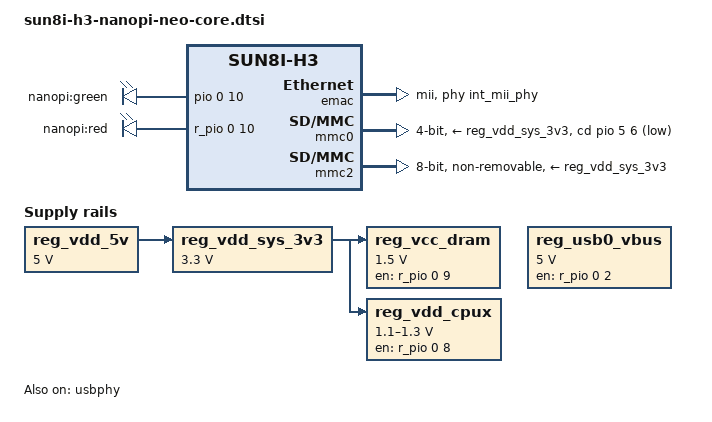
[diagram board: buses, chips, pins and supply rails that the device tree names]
// SPDX-License-Identifier: GPL-2.0 OR X11
/*
 * Copyright (C) 2018 Mans Rullgard <mans@mansr.com>
 */

/dts-v1/;
#include "sun8i-h3.dtsi"

#include <dt-bindings/gpio/gpio.h>

/ {
	aliases {
		mmc0 = &mmc0;
		mmc1 = &mmc2;
	};

	leds {
		compatible = "gpio-leds";

		led-green {
			label = "nanopi:green";
			gpios = <&pio 0 10 GPIO_ACTIVE_HIGH>; /* PA10 */
			linux,default-trigger = "heartbeat";
		};

		led-red {
			label = "nanopi:red";
			gpios = <&r_pio 0 10 GPIO_ACTIVE_HIGH>; /* PL10 */
			default-state = "on";
		};
	};

	reg_vdd_5v: regulator-vdd-5v {
		compatible = "regulator-fixed";
		regulator-name = "vdd-5v";
		regulator-min-microvolt = <5000000>;
		regulator-max-microvolt = <5000000>;
	};

	reg_vdd_sys_3v3: regulator-vdd-sys-3v3 {
		compatible = "regulator-fixed";
		regulator-name = "vdd-sys-3v3";
		regulator-min-microvolt = <3300000>;
		regulator-max-microvolt = <3300000>;
		vin-supply = <&reg_vdd_5v>;
	};

	reg_vcc_dram: regulator-vcc-dram {
		compatible = "regulator-fixed";
		regulator-name = "vdd-vcc-dram";
		regulator-min-microvolt = <1500000>;
		regulator-max-microvolt = <1500000>;
		regulator-boot-on;
		regulator-always-on;
		gpio = <&r_pio 0 9 GPIO_ACTIVE_HIGH>; /* PL9 */
		enable-active-high;
		vin-supply = <&reg_vdd_sys_3v3>;
	};

	reg_vdd_cpux: regulator-cpux {
		compatible = "regulator-gpio";
		regulator-name = "vdd-cpux";
		regulator-boot-on;
		regulator-always-on;
		regulator-min-microvolt = <1100000>;
		regulator-max-microvolt = <1300000>;
		regulator-ramp-delay = <50>; /* 4ms */
		vin-supply = <&reg_vdd_sys_3v3>;
		enable-gpios = <&r_pio 0 8 GPIO_ACTIVE_HIGH>; /* PL8 */
		enable-active-high;
		gpios = <&r_pio 0 6 GPIO_ACTIVE_HIGH>; /* PL6 */
		gpios-states = <0x1>;
		states = <1100000 0x0>,
			 <1300000 0x1>;
	};

	reg_usb0_vbus: usb0-vbus {
		compatible = "regulator-fixed";
		regulator-name = "usb0-vbus";
		regulator-min-microvolt = <5000000>;
		regulator-max-microvolt = <5000000>;
		gpio = <&r_pio 0 2 GPIO_ACTIVE_HIGH>; /* PL2 */
		enable-active-high;
	};
};

&cpu0 {
	cpu-supply = <&reg_vdd_cpux>;
};

&emac {
	phy-handle = <&int_mii_phy>;
	phy-mode = "mii";
};

&mmc0 {
	vmmc-supply = <&reg_vdd_sys_3v3>;
	bus-width = <4>;
	cd-gpios = <&pio 5 6 GPIO_ACTIVE_LOW>;
	status = "okay";
};

&mmc2 {
	pinctrl-names = "default";
	pinctrl-0 = <&mmc2_8bit_pins>;
	vmmc-supply = <&reg_vdd_sys_3v3>;
	bus-width = <8>;
	non-removable;
	status = "okay";
};

&pio {
	vcc-pa-supply = <&reg_vdd_sys_3v3>;
	vcc-pc-supply = <&reg_vdd_sys_3v3>;
	vcc-pe-supply = <&reg_vdd_sys_3v3>;
	vcc-pf-supply = <&reg_vdd_sys_3v3>;
	vcc-pg-supply = <&reg_vdd_sys_3v3>;
};

&r_pio {
	vcc-pl-supply = <&reg_vdd_sys_3v3>;
};

&usbphy {
	usb0_id_det-gpios = <&pio 6 12 GPIO_ACTIVE_HIGH>; /* PG12 */
	usb0_vbus-supply = <&reg_usb0_vbus>;
	status = "okay";
};
